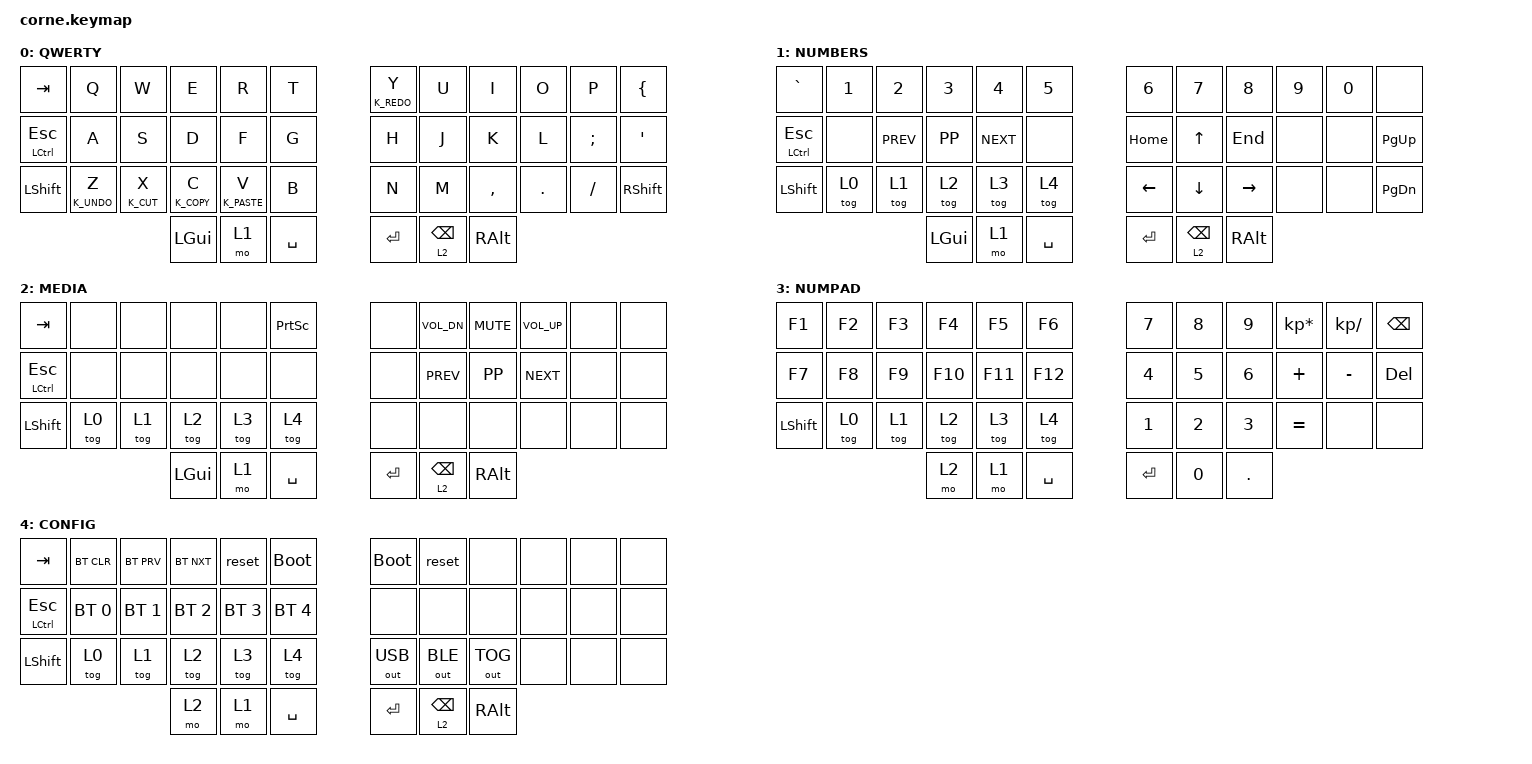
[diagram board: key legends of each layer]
/*
 * Copyright (c) 2020 The ZMK Contributors
 *
 * SPDX-License-Identifier: MIT
 */

#include <behaviors.dtsi>
#include <dt-bindings/zmk/keys.h>
#include <dt-bindings/zmk/bt.h>
#include <dt-bindings/zmk/outputs.h>

#define DEFAULT 0
#define LOWER   1
#define RAISE   2
#define NUMPAD  3
#define FUNC    4

&mt {
    tapping-term-ms = <200>;
    flavor = "tap-preferred";
};

/ {
    combos {
        compatible = "zmk,combos";

        combo_plus {
            timeout-ms = <50>;
            key-positions = <10 11>;
            bindings = <&kp PLUS>;
        };

        combo_cedilla {
            timeout-ms = <50>;
            key-positions = <22 23>;
            bindings = <&kp BSLH>;
        };

        combo_lpar {
            timeout-ms = <50>;
            key-positions = <4 5>;
            bindings = <&kp LEFT_PARENTHESIS>;
        };

        combo_rpar {
            timeout-ms = <50>;
            key-positions = <6 7>;
            bindings = <&kp RIGHT_PARENTHESIS>;
        };

        combo_lbrc {
            timeout-ms = <50>;
            key-positions = <16 17>;
            bindings = <&kp LEFT_BRACE>;
        };

        combo_rbrc {
            timeout-ms = <50>;
            key-positions = <18 19>;
            bindings = <&kp RIGHT_BRACE>;
        };

        combo_lbkt {
            timeout-ms = <50>;
            key-positions = <28 29>;
            bindings = <&kp LEFT_BRACKET>;
        };

        combo_rbkt {
            timeout-ms = <50>;
            key-positions = <30 31>;
            bindings = <&kp RIGHT_BRACKET>;
        };

        combo_numpad {
            timeout-ms = <50>;
            key-positions = <37 38>;
            bindings = <&kp 3>;
        };

        combo_func {
            timeout-ms = <50>;
            key-positions = <41 42>;
            bindings = <&kp 4>;
        };
    };

    conditional_layers {
        compatible = "zmk,conditional-layers";

        tri_layer {
            if-layers = <1 2>;
            then-layer = <3>;
        };
    };

    keymap {
        compatible = "zmk,keymap";

        default_layer {
            label = "QWERTY";

            //                                     --------------------------------------                               ----------------------------------------
            //                                     | TAB  |  Q  |  W  |  E  |  R  |  T  |                               |  Y   |  U   |  I  |  O  |  P  |  `   |
            //                                     | ESC  |  A  |  S  |  D  |  F  |  G  |                               |  H   |  J   |  K  |  L  |  Ñ  |  ´   |
            //                                     | SHIFT|  Z  |  X  |  C  |  V  |  B  |------                   ------|  N   |  M   |  ,  |  .  |  -  | SHFT |
            //                                     -------------------------| GUI | LWR | SPC |                   | ENT | BKSP | ALT  --------------------------
            //                                                              -------------------                   --------------------

            bindings = <
       &kp TAB         &kp Q        &kp W         &kp E          &kp R      &kp T  &lt K_REDO Y       &kp U      &kp I    &kp O     &kp P   &kp LBRC
 &mt LCTRL ESC         &kp A        &kp S         &kp D          &kp F      &kp G         &kp H       &kp J      &kp K    &kp L  &kp SEMI    &kp SQT
     &kp LSHFT  &lt K_UNDO Z  &lt K_CUT X  &lt K_COPY C  &lt K_PASTE V      &kp B         &kp N       &kp M  &kp COMMA  &kp DOT  &kp FSLH  &kp RSHFT
                                               &kp LGUI          &mo 1  &kp SPACE       &kp RET  &lt 2 BSPC   &kp RALT
            >;
        };

        lower_layer {
            label = "NUMBERS";

            //                                     --------------------------------------                               ----------------------------------------
            //                                     | GRAVE|  1  |  2  |  3  |  4  |  5  |                               |  6   |  7   |  8  |  9  |  0  |      |
            //                                     | ESC  |     | PRV | P/P | NXT |     |                               | HOME |  ↑   | END |     |     |  PG↑ |
            //                                     | SHIFT| DFLT| LWR |RAISE|N PAD| FNC |------                   ------|  ←   |  ↓   |  →  |     |     |  PG↓ |
            //                                     -------------------------| GUI | LWR | SPC |                   | ENT | BKSP | ALT  |-------------------------
            //                                                              -------------------                   ---------------------

            bindings = <
     &kp GRAVE  &kp NUMBER_1  &kp NUMBER_2  &kp NUMBER_3  &kp NUMBER_4  &kp NUMBER_5  &kp NUMBER_6  &kp NUMBER_7  &kp NUMBER_8  &kp NUMBER_9  &kp NUMBER_0      &none
 &mt LCTRL ESC         &none    &kp K_PREV      &kp K_PP    &kp K_NEXT         &none      &kp HOME        &kp UP       &kp END         &none         &none  &kp PG_UP
     &kp LSHFT        &tog 0        &tog 1        &tog 2        &tog 3        &tog 4      &kp LEFT      &kp DOWN     &kp RIGHT         &none         &none  &kp PG_DN
                                                &kp LGUI         &mo 1     &kp SPACE       &kp RET    &lt 2 BSPC      &kp RALT
            >;
        };

        raise_layer {
            label = "MEDIA";

            //                                     --------------------------------------                               ----------------------------------------
            //                                     | TAB  |     |     |     |     |PRINT|                               |      | VOL- | MUTE| VOL+|     |      |
            //                                     | ESC  |     |     |     |     |     |                               |      | PRV  | P/P | NXT |     |      |
            //                                     | SHIFT| DFLT| LWR |RAISE|N PAD| FNC |------                   ------|      |      |     |     |     |      |
            //                                     -------------------------| GUI | LWR | SPC |                   | ENT | BKSP | ALT  |-------------------------
            //                                                              -------------------                   ---------------------

            bindings = <
       &kp TAB   &none   &none     &none   &none  &kp PSCRN    &none  &kp C_VOL_DN  &kp C_MUTE  &kp C_VOL_UP   &none   &none
 &mt LCTRL ESC   &none   &none     &none   &none      &none    &none    &kp K_PREV    &kp K_PP    &kp K_NEXT   &none   &none
     &kp LSHFT  &tog 0  &tog 1    &tog 2  &tog 3     &tog 4    &none         &none       &none         &none   &none   &none
                                &kp LGUI   &mo 1  &kp SPACE  &kp RET    &lt 2 BSPC    &kp RALT
            >;
        };

        numpad_layer {
            label = "NUMPAD";

            //                                     --------------------------------------                               ----------------------------------------
            //                                     | F1   | F2  | F3  | F4  | F5  | F6  |                               |  7   |  8   |  9  |  *  |  /  | BKSP |
            //                                     | F7   | F8  | F9  | F10 | F11 | F12 |                               |  4   |  5   |  6  |  +  |  -  | DEL  |
            //                                     |      | DFLT| LWR |RAISE|N PAD| FNC |------                   ------|  1   |  2   |  3  |     |     |      |
            //                                     -------------------------| GUI | LWR | SPC |                   | ENT |  0   |  .   |-------------------------
            //                                                              -------------------                   ---------------------

            bindings = <
    &kp F1  &kp F2  &kp F3   &kp F4   &kp F5     &kp F6   &kp N7  &kp N8   &kp N9  &kp KP_MULTIPLY  &kp KP_DIVIDE  &kp BSPC
    &kp F7  &kp F8  &kp F9  &kp F10  &kp F11    &kp F12   &kp N4  &kp N5   &kp N6         &kp PLUS      &kp MINUS   &kp DEL
 &kp LSHFT  &tog 0  &tog 1   &tog 2   &tog 3     &tog 4   &kp N1  &kp N2   &kp N3        &kp EQUAL          &none     &none
                              &mo 2    &mo 1  &kp SPACE  &kp RET  &kp N0  &kp DOT
            >;
        };

        function_layer {
            label = "CONFIG";

            //                                     --------------------------------------                               ----------------------------------------
            //                                     | TAB  |BTCLR|BTPRV|BTNXT|RESET| BOOT|                               | BOOT | RESET|     |     |     |      |
            //                                     | ESC  | BT1 | BT2 | BT3 | BT4 | BT5 |                               |      |      |     |     |     |      |
            //                                     | SHIFT| DFLT| LWR |RAISE|N PAD| FNC |------                   ------| USB  | BLE  | TOG |     |     |      |
            //                                     -------------------------| GUI | LWR | SPC |                   | ENT | BKSP | ALT  |-------------------------
            //                                                              -------------------                   ---------------------

            bindings = <
       &kp TAB    &bt BT_CLR    &bt BT_PRV    &bt BT_NXT        &reset   &bootloader   &bootloader        &reset         &none   &none   &none   &none
 &mt LCTRL ESC  &bt BT_SEL 0  &bt BT_SEL 1  &bt BT_SEL 2  &bt BT_SEL 3  &bt BT_SEL 4         &none         &none         &none   &none   &none   &none
     &kp LSHFT        &tog 0        &tog 1        &tog 2        &tog 3        &tog 4  &out OUT_USB  &out OUT_BLE  &out OUT_TOG   &none   &none   &none
                                                   &mo 2         &mo 1     &kp SPACE       &kp RET    &lt 2 BSPC      &kp RALT
            >;
        };
    };
};
